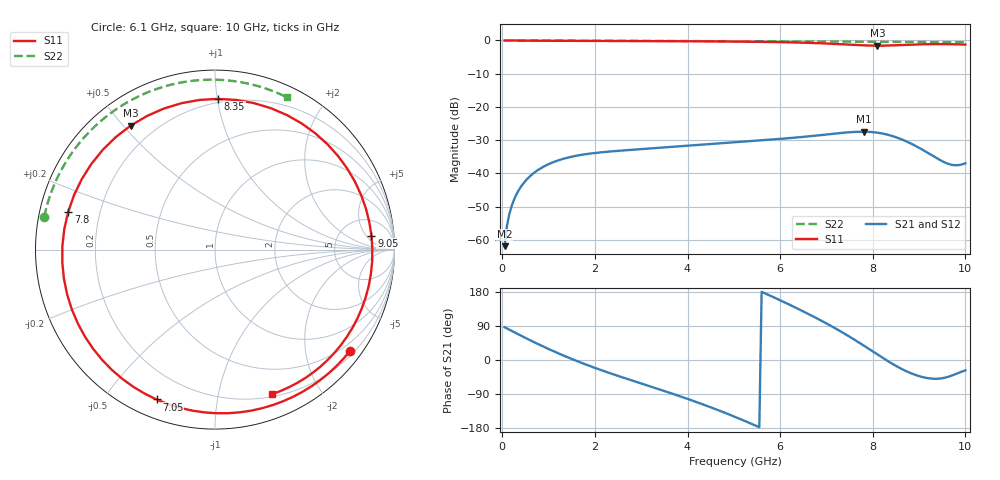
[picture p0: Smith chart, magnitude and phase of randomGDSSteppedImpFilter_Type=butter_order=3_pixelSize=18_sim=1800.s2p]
! freq	dB(S11)	phase(S11)	dB(S12)	phase(S12)
!  dB(S21)	phase(S21)	dB(S22)	phase(S22)
!S-par simulation data
#  GHz  S  DB  R 50
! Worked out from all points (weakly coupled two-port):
!   200 points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, 50 MHz to 10 GHz, reference 50 ohm
!   highest |S21| = -27.44 dB at 7.8 GHz (marker M1); lowest = -61.9 dB at 50 MHz (marker M2)
!   lowest |S11| = -1.6 dB at 8.1 GHz (marker M3), VSWR 11.14, Z = 5.73 + j26.2 ohm
!   |S11| at or under -10 dB: nowhere
!   |S22| runs from -0.6 to 0.0 dB; largest |S21 - S12| = 0
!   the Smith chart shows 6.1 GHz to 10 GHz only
!   S11 on the Smith chart (normalised r, x): 6.1 GHz: 0.30, -2.97; 7.05 GHz: 0.08, -0.68; 7.8 GHz: 0.09, +0.13; 8.35 GHz: 0.18, +1.01; 9.05 GHz: 10, +7; 10 GHz: 0.23, -1.45
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0.05  -0.00 -4.4  -61.86 86.4  -61.86 86.4  -0.00 -2.0
0.1  -0.01 -8.8  -55.84 83.4  -55.84 83.4  -0.00 -4.1
0.2  -0.03 -17.5  -49.87 77.1  -49.87 77.1  -0.01 -8.1
0.5  -0.06 -43.0  -42.24 58.3  -42.24 58.3  -0.03 -20.2
1.1  -0.11 -90.3  -36.60 23.6  -36.60 23.6  -0.06 -43.7
1.75  -0.14 -134.9  -34.31 -9.4  -34.31 -9.4  -0.08 -67.7
2.55  -0.17 177.2  -33.14 -44.0  -33.14 -44.0  -0.11 -94.7
3.4  -0.20 129.3  -32.29 -77.9  -32.29 -77.9  -0.14 -120.5
4.25  -0.26 80.6  -31.40 -113.5  -31.40 -113.5  -0.17 -144.0
5.05  -0.34 32.0  -30.57 -151.3  -30.57 -151.3  -0.21 -164.7
5.6  -0.42 -3.2  -30.01 179.9  -30.01 179.9  -0.24 -178.5
6.1  -0.53 -36.9  -29.49 151.9  -29.49 151.9  -0.27 169.1
6.7  -0.75 -81.4  -28.72 115.8  -28.72 115.8  -0.31 154.2
7.05  -0.95 -111.3  -28.20 93.1  -28.20 93.1  -0.34 145.4
7.5  -1.27 -157.4  -27.60 61.4  -27.60 61.4  -0.37 133.9
7.8  -1.47 165.6  -27.44 38.4  -27.44 38.4  -0.39 126.2
8.1  -1.56 124.2  -27.73 14.6  -27.73 14.6  -0.41 118.3
8.35  -1.51 88.8  -28.45 -4.7  -28.45 -4.7  -0.42 111.6
8.7  -1.32 43.1  -30.19 -28.2  -30.19 -28.2  -0.44 102.0
9.05  -1.16 5.1  -32.66 -44.3  -32.66 -44.3  -0.47 92.3
9.55  -1.11 -37.4  -36.65 -46.9  -36.65 -46.9  -0.51 78.0
10  -1.25 -68.4  -36.92 -27.4  -36.92 -27.4  -0.55 64.9
